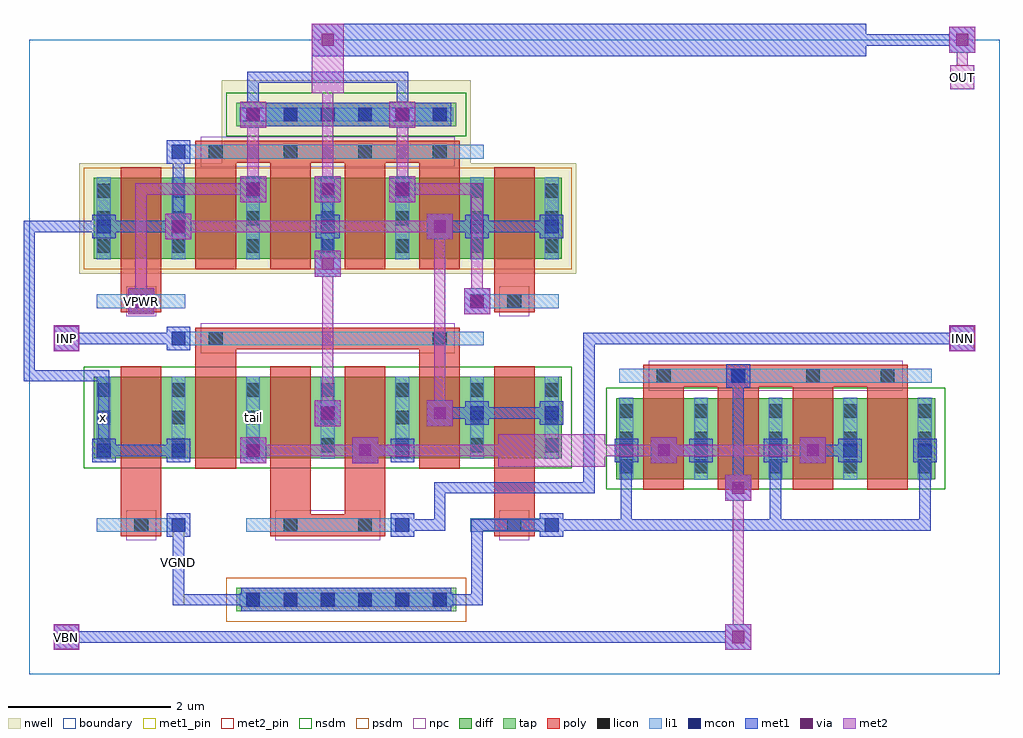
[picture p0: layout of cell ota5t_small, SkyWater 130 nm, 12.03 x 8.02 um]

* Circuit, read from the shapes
.subckt ota5t_small INN INP OUT VBN VGND VPWR tail x
XM1 x VGND x VGND sky130_fd_pr__nfet_01v8 w=1 l=0.5 m=2
XM2 tail INP x VGND sky130_fd_pr__nfet_01v8 w=1 l=0.5 m=2
XM3 OUT INN tail VGND sky130_fd_pr__nfet_01v8 w=1 l=0.5 m=2
XM4 tail VBN VGND VGND sky130_fd_pr__nfet_01v8 w=1 l=0.5 m=4
XM5 x VPWR x VPWR sky130_fd_pr__pfet_01v8 w=1 l=0.5 m=2
XM6 VPWR x x VPWR sky130_fd_pr__pfet_01v8 w=1 l=0.5 m=2
XM7 OUT x VPWR VPWR sky130_fd_pr__pfet_01v8 w=1 l=0.5 m=2
.ends

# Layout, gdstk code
import gdstk
lib = gdstk.Library(unit=1e-6, precision=1e-09)
def R(c, l, rs):  # rectangles x0, y0, x1, y1
    for r in rs: c.add(gdstk.rectangle(r[:2], r[2:], *l))
def A(c, l, x, y, w, h, nx, ny, dx, dy):  # array of equal rectangles
    R(c, l, [(x+i*dx, y+j*dy, x+i*dx+w, y+j*dy+h) for i in range(nx) for j in range(ny)])
nwell = (64, 20)
diff = (65, 20)
tap = (65, 44)
poly = (66, 20)
licon = (66, 44)
li1 = (67, 20)
mcon = (67, 44)
met1_pin = (68, 16)
met1 = (68, 20)
via = (68, 44)
met2_pin = (69, 16)
met2 = (69, 20)
nsdm = (93, 44)
psdm = (94, 20)
npc = (95, 20)
boundary = (235, 4)

ota5t_small = lib.new_cell('ota5t_small')
R(ota5t_small, nwell, [(0.615,4.94,6.745,6.3), (2.375,6.3,5.445,7.32)])
R(ota5t_small, diff, [(7.235,2.405,11.165,3.405), (0.795,2.665,6.565,3.665), (0.795,5.12,6.565,6.12)])
R(ota5t_small, tap, [(2.555,0.775,5.265,1.065), (2.555,6.755,5.265,7.045)])
A(ota5t_small, poly, 7.57, 2.275, 0.5, 1.405, 4, 1, 0.92, 0)
A(ota5t_small, poly, 2.05, 4.99, 0.5, 1.45, 4, 1, 0.92, 0)
R(ota5t_small, poly, [(1.13,1.705,1.63,1.975), (2.97,1.705,4.39,1.975), (5.73,1.705,6.23,1.975), (1.13,1.84,1.63,3.795), (2.97,1.84,3.47,3.795), (3.89,1.84,4.39,3.795), (5.73,1.84,6.23,3.795), (2.05,2.535,2.55,4.14), (4.81,2.535,5.31,4.14), (7.57,3.545,10.83,3.815), (2.05,4.005,5.31,4.275), (1.13,4.465,1.63,4.735), (5.73,4.465,6.23,4.735), (1.13,4.6,1.63,6.25), (5.73,4.6,6.23,6.25), (2.05,6.305,5.31,6.575)])
A(ota5t_small, licon, 2.675, 0.835, 0.17, 0.17, 6, 2, 0.46, 5.98)
A(ota5t_small, licon, 7.275, 2.48, 0.17, 0.17, 5, 3, 0.92, 0.34)
A(ota5t_small, licon, 0.835, 2.74, 0.17, 0.17, 7, 3, 0.92, 0.34)
A(ota5t_small, licon, 7.735, 3.595, 0.17, 0.17, 4, 1, 0.92, 0)
A(ota5t_small, licon, 0.835, 5.195, 0.17, 0.17, 7, 3, 0.92, 0.34)
A(ota5t_small, licon, 2.215, 6.355, 0.17, 0.17, 4, 1, 0.92, 0)
R(ota5t_small, licon, [(1.295,1.755,1.465,1.925), (3.135,1.755,3.305,1.925), (4.055,1.755,4.225,1.925), (5.895,1.755,6.065,1.925), (2.215,4.055,2.385,4.225), (4.975,4.055,5.145,4.225), (1.295,4.515,1.465,4.685), (5.895,4.515,6.065,4.685)])
A(ota5t_small, li1, 7.275, 2.4, 0.17, 1.01, 5, 1, 0.92, 0)
A(ota5t_small, li1, 0.835, 2.66, 0.17, 1.01, 7, 2, 0.92, 2.455)
R(ota5t_small, li1, [(2.595,0.835,5.225,1.005), (0.835,1.755,1.925,1.925), (2.675,1.755,4.685,1.925), (5.435,1.755,6.525,1.925), (7.275,3.595,11.125,3.765), (1.755,4.055,5.605,4.225), (0.835,4.515,1.925,4.685), (5.435,4.515,6.525,4.685), (1.755,6.355,5.605,6.525), (2.595,6.815,5.225,6.985)])
A(ota5t_small, mcon, 2.675, 0.835, 0.17, 0.17, 6, 2, 0.46, 5.98)
A(ota5t_small, mcon, 1.755, 1.755, 0.17, 0.17, 1, 3, 0, 2.3)
A(ota5t_small, mcon, 0.835, 2.675, 0.17, 0.17, 3, 1, 0.92, 0)
A(ota5t_small, mcon, 7.275, 2.675, 0.17, 0.17, 5, 1, 0.92, 0)
A(ota5t_small, mcon, 1.755, 5.435, 0.17, 0.17, 3, 1, 1.84, 0)
R(ota5t_small, mcon, [(4.515,1.755,4.685,1.925), (6.355,1.755,6.525,1.925), (4.515,2.675,4.685,2.845), (3.595,3.135,3.765,3.305), (5.435,3.135,5.605,3.305), (6.355,3.135,6.525,3.305), (8.655,3.595,8.825,3.765), (1.295,4.515,1.465,4.685), (5.435,4.515,5.605,4.685), (0.835,5.435,1.005,5.605), (6.355,5.435,6.525,5.605), (2.675,5.895,2.845,6.065), (4.515,5.895,4.685,6.065)])
R(ota5t_small, met1_pin, [(1.77,0.85,1.91,1.91), (1.235,4.455,1.525,4.745)])
A(ota5t_small, met1, 4.99, 0.85, 0.6, 0.14, 1, 3, 0, 2.3)
A(ota5t_small, met1, 1.695, 1.695, 0.29, 0.29, 1, 3, 0, 2.3)
A(ota5t_small, met1, 7.29, 1.77, 0.14, 1.06, 3, 1, 1.84, 0)
A(ota5t_small, met1, 0.775, 2.615, 0.29, 0.29, 3, 1, 0.92, 0)
A(ota5t_small, met1, 7.215, 2.615, 0.29, 0.29, 5, 1, 0.92, 0)
A(ota5t_small, met1, 1.695, 5.375, 0.29, 0.29, 3, 1, 1.84, 0)
A(ota5t_small, met1, 2.6, 5.82, 0.32, 0.32, 3, 1, 0.92, 0)
R(ota5t_small, met1, [(0.3,0.3,0.62,0.62), (8.58,0.3,8.9,0.62), (0.39,0.39,8.81,0.53), (2.615,0.775,5.205,1.065), (1.77,0.85,1.91,1.91), (1.77,0.85,5.13,0.99), (4.99,0.85,5.13,0.99), (5.45,0.85,5.59,1.91), (4.455,1.695,4.745,1.985), (6.295,1.695,6.585,1.985), (4.53,1.77,5.13,1.91), (4.99,1.77,5.13,2.37), (5.45,1.77,6.51,1.91), (6.37,1.77,7.43,1.91), (7.29,1.77,9.27,1.91), (9.13,1.77,11.11,1.91), (8.58,2.14,8.9,2.46), (4.99,2.23,6.97,2.37), (6.83,2.23,6.97,4.21), (8.67,2.23,8.81,3.75), (2.6,2.6,2.92,2.92), (3.98,2.6,4.3,2.92), (7.66,2.6,7.98,2.92), (9.5,2.6,9.82,2.92), (4.455,2.615,4.745,2.905), (0.85,2.69,1.91,2.83), (0.85,2.69,0.99,3.75), (4.07,2.69,4.67,2.83), (7.75,2.69,8.35,2.83), (9.59,2.69,10.19,2.83), (3.52,3.06,3.84,3.38), (4.9,3.06,5.22,3.38), (3.535,3.075,3.825,3.365), (5.375,3.075,5.665,3.365), (6.295,3.075,6.585,3.365), (5.45,3.15,6.51,3.29), (8.595,3.535,8.885,3.825), (-0.07,3.61,0.99,3.75), (-0.07,3.61,0.07,5.59), (0.3,3.98,0.62,4.3), (11.34,3.98,11.66,4.3), (0.39,4.07,1.91,4.21), (6.83,4.07,11.57,4.21), (1.22,4.44,1.54,4.76), (5.36,4.44,5.68,4.76), (1.235,4.455,1.525,4.745), (5.375,4.455,5.665,4.745), (3.52,4.9,3.84,5.22), (3.61,4.99,3.75,5.59), (1.68,5.36,2,5.68), (4.9,5.36,5.22,5.68), (0.775,5.375,1.065,5.665), (6.295,5.375,6.585,5.665), (-0.07,5.45,0.99,5.59), (0.85,5.45,1.91,5.59), (1.77,5.45,1.91,6.51), (3.61,5.45,3.75,6.05), (5.45,5.45,6.51,5.59), (2.615,5.835,2.905,6.125), (4.455,5.835,4.745,6.125), (2.6,6.74,2.92,7.06), (4.44,6.74,4.76,7.06), (2.615,6.755,5.205,7.045), (2.69,6.83,2.83,7.43), (2.69,6.83,2.83,6.97), (4.53,6.83,4.67,7.43), (2.69,7.29,4.67,7.43), (3.48,7.62,3.88,8.02), (3.48,7.62,10.32,8.02), (11.34,7.66,11.66,7.98), (10.05,7.75,11.57,7.89)])
A(ota5t_small, via, 2.685, 5.905, 0.15, 0.15, 3, 1, 0.92, 0)
R(ota5t_small, via, [(0.385,0.385,0.535,0.535), (8.665,0.385,8.815,0.535), (8.665,2.225,8.815,2.375), (2.685,2.685,2.835,2.835), (4.065,2.685,4.215,2.835), (7.745,2.685,7.895,2.835), (9.585,2.685,9.735,2.835), (3.605,3.145,3.755,3.295), (4.985,3.145,5.135,3.295), (0.385,4.065,0.535,4.215), (11.425,4.065,11.575,4.215), (1.305,4.525,1.455,4.675), (5.445,4.525,5.595,4.675), (3.605,4.985,3.755,5.135), (1.765,5.445,1.915,5.595), (4.985,5.445,5.135,5.595), (2.685,6.825,2.835,6.975), (4.525,6.825,4.675,6.975), (3.605,7.745,3.755,7.895), (11.425,7.745,11.575,7.895)])
R(ota5t_small, met2_pin, [(0.31,0.31,0.61,0.61), (0.31,3.99,0.61,4.29), (11.35,3.99,11.65,4.29), (11.35,7.21,11.65,7.51)])
A(ota5t_small, met2, 2.6, 5.82, 0.32, 0.32, 3, 1, 0.92, 0)
R(ota5t_small, met2, [(0.3,0.3,0.62,0.62), (8.58,0.3,8.9,0.62), (0.31,0.31,0.61,0.61), (0.39,0.39,0.53,0.53), (8.67,0.39,8.81,2.37), (8.58,2.14,8.9,2.46), (5.78,2.56,7.1,2.96), (2.6,2.6,2.92,2.92), (3.98,2.6,4.3,2.92), (7.66,2.6,7.98,2.92), (9.5,2.6,9.82,2.92), (2.69,2.69,4.21,2.83), (4.07,2.69,6.05,2.83), (6.83,2.69,7.89,2.83), (7.75,2.69,9.73,2.83), (3.52,3.06,3.84,3.38), (4.9,3.06,5.22,3.38), (3.61,3.15,3.75,5.13), (4.99,3.15,5.13,5.59), (0.3,3.98,0.62,4.3), (11.34,3.98,11.66,4.3), (0.31,3.99,0.61,4.29), (11.35,3.99,11.65,4.29), (0.39,4.07,0.53,4.21), (11.43,4.07,11.57,4.21), (1.22,4.44,1.54,4.76), (5.36,4.44,5.68,4.76), (1.31,4.53,1.45,6.05), (5.45,4.53,5.59,6.05), (3.52,4.9,3.84,5.22), (1.68,5.36,2,5.68), (4.9,5.36,5.22,5.68), (1.77,5.45,5.13,5.59), (1.31,5.91,2.83,6.05), (2.69,5.91,2.83,6.97), (3.61,5.91,3.75,7.43), (4.53,5.91,5.59,6.05), (4.53,5.91,4.67,6.97), (2.6,6.74,2.92,7.06), (4.44,6.74,4.76,7.06), (3.48,7.16,3.88,8.02), (11.35,7.21,11.65,7.51), (11.43,7.29,11.57,7.43), (11.43,7.29,11.57,7.89), (3.48,7.62,3.88,8.02), (11.34,7.66,11.66,7.98)])
R(ota5t_small, nsdm, [(7.11,2.28,11.29,3.53), (0.67,2.54,6.69,3.79), (2.43,6.63,5.39,7.17)])
R(ota5t_small, psdm, [(2.43,0.65,5.39,1.19), (0.67,4.995,6.69,6.245)])
R(ota5t_small, npc, [(1.195,1.655,1.565,2.025), (3.035,1.655,4.325,2.025), (5.795,1.655,6.165,2.025), (7.635,3.495,10.765,3.865), (2.115,3.955,5.245,4.325), (1.195,4.415,1.565,4.785), (5.795,4.415,6.165,4.785), (2.115,6.255,5.245,6.625)])
R(ota5t_small, boundary, [(0,0,11.96,7.82)])
ota5t_small.add(gdstk.Label('x', (0.92,3.165), layer=67, texttype=5))
ota5t_small.add(gdstk.Label('tail', (2.76,3.165), layer=67, texttype=5))
ota5t_small.add(gdstk.Label('VPWR', (1.38,4.6), layer=68, texttype=5))
ota5t_small.add(gdstk.Label('VGND', (1.84,1.38), layer=68, texttype=5))
ota5t_small.add(gdstk.Label('INP', (0.46,4.14), layer=69, texttype=5))
ota5t_small.add(gdstk.Label('INN', (11.5,4.14), layer=69, texttype=5))
ota5t_small.add(gdstk.Label('VBN', (0.46,0.46), layer=69, texttype=5))
ota5t_small.add(gdstk.Label('OUT', (11.5,7.36), layer=69, texttype=5))
ota5t_small.add(gdstk.Label('VPWR', (1.38,4.6), layer=68, texttype=16))
ota5t_small.add(gdstk.Label('VGND', (1.84,1.38), layer=68, texttype=16))
ota5t_small.add(gdstk.Label('INP', (0.46,4.14), layer=69, texttype=16))
ota5t_small.add(gdstk.Label('INN', (11.5,4.14), layer=69, texttype=16))
ota5t_small.add(gdstk.Label('VBN', (0.46,0.46), layer=69, texttype=16))
ota5t_small.add(gdstk.Label('OUT', (11.5,7.36), layer=69, texttype=16))

lib.write_gds('ota5t_small.gds')
